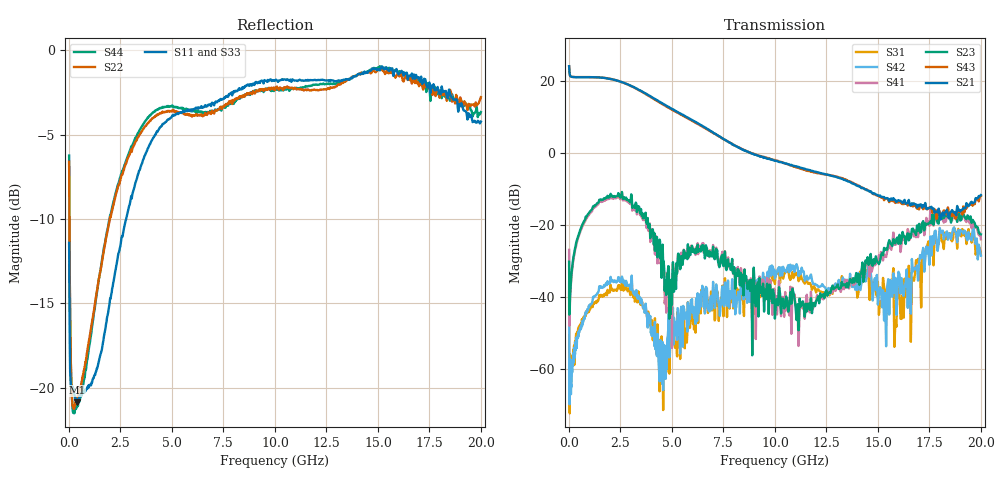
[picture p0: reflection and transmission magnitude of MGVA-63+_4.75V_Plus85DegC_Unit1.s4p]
!Mini-Circuits Laboratory
!S-Parameters
!Model: MGVA-63+
!Run / Lot / Date Code: NA / AH404P001-04 / 1348
!Fixture: NA; TB-561+
!AUTO PORT EXTENSION DONE: PORT<1>=113.62ps; PORT<2>=112.79ps; PORT<3>=112.29ps; PORT<4>=112.3ps
!Network Analyzer: PNA-X N5242A - 423 4 ports;  Serial number: 71256
!Date: 2/10/20114
!S/N: Unit# 1
!Correction: S11(Full 4 Port(1,2,3,4))
!S12(Full 4 Port(1,2,3,4))
!S13(Full 4 Port(1,2,3,4))
!S14(Full 4 Port(1,2,3,4))
!S21(Full 4 Port(1,2,3,4))
!S22(Full 4 Port(1,2,3,4))
!S23(Full 4 Port(1,2,3,4))
!S24(Full 4 Port(1,2,3,4))
!S31(Full 4 Port(1,2,3,4))
!S32(Full 4 Port(1,2,3,4))
!S33(Full 4 Port(1,2,3,4))
!S34(Full 4 Port(1,2,3,4))
!S41(Full 4 Port(1,2,3,4))
!S42(Full 4 Port(1,2,3,4))
!S43(Full 4 Port(1,2,3,4))
!S44(Full 4 Port(1,2,3,4))
!S4P File: Measurements: <S11,S12,S13,S14>,
!<S21,S22,S23,S24>,
!<S31,S32,S33,S34>,
!<S41,S42,S43,S44>:
# Hz S  dB  R 50
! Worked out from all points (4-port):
!   660 points, 10 MHz to 20 GHz, reference 50 ohm
!   strongest paths, dB at 10 MHz, 2.65 GHz, 6.775 GHz, 11.8 GHz, 20 GHz:
!     S21: 24.1, 19.5, 6.5, -4.9, -11.7
!     S43: 24.0, 19.5, 6.3, -5.2, -11.9
!     S23: -30.2, -12.8, -28.5, -44.5, -22.6
!     S41: -26.9, -13.2, -27.4, -43.7, -24.0
!     S42: -35.7, -36.1, -43.7, -35.3, -28.5
!     S31: -38.4, -38.2, -41.6, -38.0, -28.2
!   lowest |S11| = -20.9 dB at 380 MHz (marker M1), VSWR 1.20, Z = 42 + j2.28 ohm
!   |S11| at or under -10 dB: start of sweep to 2.778 GHz
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1e7  -11.41 -45.6  -27.60 29.7  -42.14 78.5  -50.38 104.7
     24.11 169.3  -6.61 -27.0  -30.19 85.5  -40.00 107.8
     -38.44 144.8  -46.83 110.7  -10.79 -43.8  -27.40 25.1
     -26.90 151.2  -35.68 120.2  24.04 168.8  -6.24 -27.6
8e7  -19.52 -142.3  -24.29 5.1  -64.17 88.1  -71.17 157.2
     21.30 171.0  -17.65 -53.5  -37.23 72.3  -66.59 108.7
     -59.18 93.4  -74.20 -71.6  -19.48 -142.2  -24.33 5.1
     -37.75 73.2  -66.63 50.0  21.31 171.1  -17.71 -53.0
3.8e8  -20.85 162.7  -24.22 -1.5  -50.75 76.6  -70.80 131.6
       21.03 163.7  -20.67 -64.1  -24.34 62.1  -51.90 90.2
       -50.37 76.0  -81.88 -46.7  -20.92 166.3  -24.19 -1.7
       -24.93 63.4  -54.15 96.5  21.06 163.8  -21.00 -62.7
1.9e9  -15.58 136.1  -23.12 -19.6  -38.07 47.8  -58.30 93.9
       20.69 100.8  -10.55 167.6  -12.27 -39.6  -35.51 49.4
       -38.41 50.9  -60.50 124.4  -15.26 137.4  -23.21 -20.1
       -12.79 -36.8  -36.14 53.1  20.70 100.6  -10.45 165.7
3.4e9  -7.15 103.7  -23.57 -48.7  -40.83 -7.1  -57.38 73.4
       17.49 35.9  -5.05 100.7  -14.84 -147.7  -39.11 -22.9
       -39.67 1.1  -57.66 78.5  -7.03 101.4  -23.77 -49.6
       -15.02 -146.3  -40.41 -9.9  17.45 35.0  -4.80 100.4
5.925e9  -3.55 76.1  -26.88 -77.6  -43.86 -48.5  -51.19 21.6
         9.32 -40.2  -3.87 69.0  -26.43 -115.3  -43.22 -49.0
         -41.70 -44.4  -51.13 17.1  -3.62 73.3  -27.26 -76.5
         -25.77 -111.5  -40.87 -43.1  9.11 -39.4  -3.61 73.3
2e10  -4.23 25.1  -43.88 87.2  -27.09 127.9  -21.85 -11.8
      -11.69 156.9  -2.78 47.5  -22.60 -12.3  -31.06 144.8
      -28.18 119.4  -20.73 -17.9  -3.98 36.3  -28.29 97.6
      -23.98 -7.8  -28.53 144.1  -11.93 160.4  -3.66 54.3
